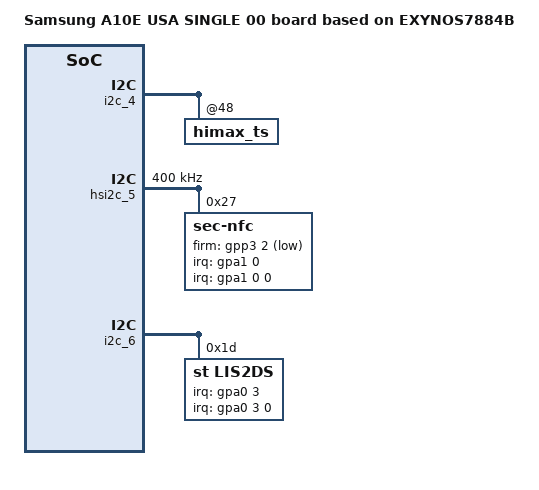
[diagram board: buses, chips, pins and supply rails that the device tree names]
/*
 * SAMSUNG EXYNOS7884B board device tree source

 *
 * Copyright (c) 2018 Samsung Electronics Co., Ltd.
 *		http://www.samsung.com
 *
 * This program is free software; you can redistribute it and/or modify
 * it under the terms of the GNU General Public License version 2 as
 * published by the Free Software Foundation.
*/

/dts-v1/;
/plugin/;

#include "exynos7884B-a10e_common.dtsi"
#include "exynos7884B-a10e_usa_single_gpio_00.dtsi"
#include "modem-s327ap-sipc-highmem.dtsi"

/ {
	compatible = "samsung,A10E USA SINGLE 00", "samsung,EXYNOS7884B";

	dtbo-hw_rev = <0>;
    dtbo-hw_rev_end = <0>;


	fragment@model {
		target-path = "/";
		__overlay__ {
			#address-cells = <2>;
			#size-cells = <1>;

			model = "Samsung A10E USA SINGLE 00 board based on EXYNOS7884B";

		}; /* end of __overlay__ */
	}; /* end of fragment */
}; /* end of root */

&i2c_4 {
	himax_ts@48 {
		status = "okay";
		himax,fw-path_al = "tsp_himax/hx83102d_a20e_al.fw"; /* path fw for AL IC */
		support_dual_fw = <1>;
	};
};

&pinctrl_0 { //11CB0000
	nfc_clk: nfc-clk {
		samsung,pins = "gpq0-0";
		samsung,pin-function = <2>;
		samsung,pin-pud = <0>;
	};

	nfc_int: nfc-int {
		samsung,pins = "gpa1-0";
		samsung,pin-function = <0>;
		samsung,pin-pud = <1>;
	};
};

&pinctrl_3 { //139B0000
	nfc_pvdd_en: nfc_pvdd_en {
		samsung,pins = "gpp6-4";
		samsung,pin-function = <1>;
		samsung,pin-pud = <0>;
		samsung,pin-val = <0>;
		samsung,pin-con-pdn = <3>;
		samsung,pin-pud-pdn = <0>;
	};

	nfc_firm: nfc_firm {
		samsung,pins = "gpp3-2";
		samsung,pin-function = <1>;
		samsung,pin-pud = <0>;
		samsung,pin-val = <0>;
		samsung,pin-con-pdn = <3>;
		samsung,pin-pud-pdn = <0>;
	};

	nfc_pd: nfc_pd {
		samsung,pins = "gpp2-2";
		samsung,pin-function = <2>;
		samsung,pin-pud = <0>;
		samsung,pin-drv = <0>;
		samsung,pin-con-pdn = <3>;
		samsung,pin-pud-pdn = <0>;
	};

	nfc_clk_req: nfc_clk_req {
		samsung,pins = "gpp2-3";
		samsung,pin-function = <2>;
		samsung,pin-pud = <1>;
		samsung,pin-drv = <0>;
		samsung,pin-con-pdn = <3>;
		samsung,pin-pud-pdn = <0>;
	};
};

&hsi2c_5 {
	status = "okay";
	clock-frequency = <400000>;  /*   400 kHz  */
	sec-nfc@27{
		compatible = "sec-nfc";
		reg = <0x27>;

		interrupt-parent = <&gpa1>;
		interrupts = <0 0 0>;

		sec-nfc,nfc_pd = <&gpp2 2 0x2>;
		sec-nfc,firm-gpio = <&gpp3 2 1>;
		sec-nfc,irq-gpio = <&gpa1 0 0>;
		sec-nfc,nfc_clkreq = <&gpp2 3 0x2>;
		sec-nfc,pvdd_en = <&gpp6 4 1>;
		clkctrl-reg = <0x11C8600C>;

		pinctrl-names = "default";
		pinctrl-0 = <&nfc_pd &nfc_firm &nfc_int &nfc_clk &nfc_pvdd_en &nfc_clk_req>;
	};
};

&i2c_6 {
	status = "okay";
	#address-cells = <1>;
	#size-cells = <0>;
	samsung,i2c-sda-delay = <100>;
	samsung,i2c-max-bus-freq = <400000>;
	pinctrl-names = "default";
	pinctrl-0 = <&i2c6_bus>;

	lis2ds@1D {
		compatible = "st,lis2ds";
		reg = <0x1D>;
		pinctrl-names = "default";
		pinctrl-0 = <&acc_int>;
		interrupt-parent = <&gpa0>;
		interrupts = <3 0 0>;
		st,orientation = <1 0 1 2 1 1 1 1 0>;
		st,irq_gpio = <&gpa0 3 0x00>;
	};
};

/ {
	fragment@camera {
		target-path = "/";
		__overlay__ {

			/* REAR CAMERA */
			fimc_is_sensor_4ha: fimc-is_sensor_4ha@5A {
				gpio_camaf_2p8_en = <&gpg1 5 0x1>;              /* RCAM1_AFVDD_2P8_EN: XGPIO9*/
				gpio_cam_a2p8_en = <&gpg2 1 0x1>;               /* RCAM1_AVDD_2P8_EN: XGPIO13 */
				gpio_cam_core_en = <&gpg1 4 0x1>;               /* RCAM1_DVDD_1P2_EN : XGPIO8 */
				gpio_cam_ldo_en = < >;
				num_of_gpio_ldo_en = <0>;                       /*Power supply using many GPIO & regulator*/
				}; /* end of __overlay__ */
			}; /* end of fragment */
		}; /* end of root */
};

